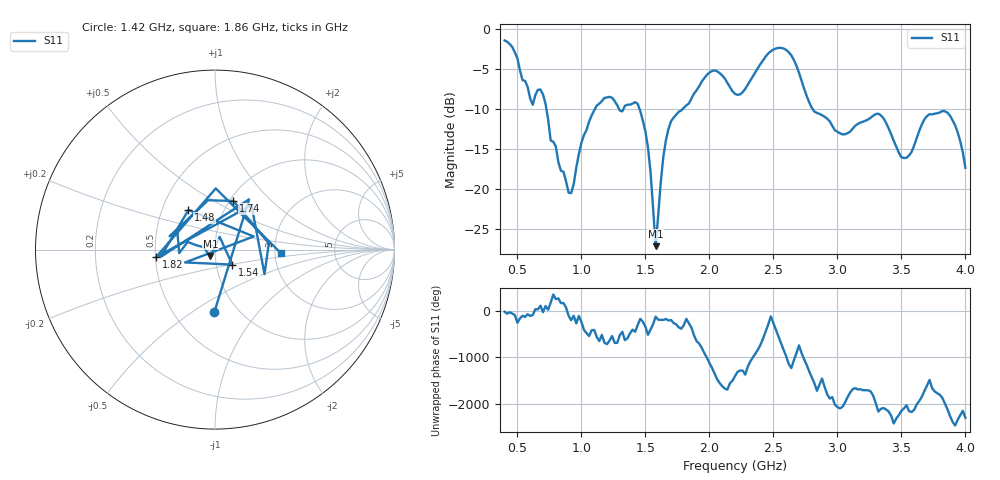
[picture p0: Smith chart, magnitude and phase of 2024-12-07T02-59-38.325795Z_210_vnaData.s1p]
!Created with skrf (http://scikit-rf.org).
# Hz S RI R 50.0
!freq ReS11 ImS11
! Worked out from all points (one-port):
!   181 points, 400 MHz to 4 GHz, reference 50 ohm
!   lowest |S11| = -27.2 dB at 1.58 GHz (marker M1), VSWR 1.09, Z = 47.4 - j3.4 ohm
!   |S11| at or under -10 dB: 726 MHz to 1.107 GHz (381.1 MHz wide, 41.6 % of centre); 1.453 GHz to 1.794 GHz (340.5 MHz wide, 21 % of centre); 2.805 GHz to end of sweep (the widest 3 of 4)
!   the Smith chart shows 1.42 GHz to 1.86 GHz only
!   S11 on the Smith chart (normalised r, x): 1.42 GHz: 0.78, -0.62; 1.48 GHz: 0.68, +0.32; 1.54 GHz: 1.19, -0.20; 1.74 GHz: 1.04, +0.62; 1.82 GHz: 0.50, -0.05; 1.86 GHz: 2.15, -0.09
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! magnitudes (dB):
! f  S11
! 400 MHz  -1.5
! 620 MHz  -9.5
! 700 MHz  -8.2
! 760 MHz  -14.0
! 860 MHz  -17.9
! 920 MHz  -20.5
! 1.12 GHz  -9.6
! 1.3 GHz  -10.2
! 1.42 GHz  -9.2
! 1.48 GHz  -11.5
! 1.54 GHz  -17.9
! 1.58 GHz  -27.2
! 1.66 GHz  -14.0
! 1.74 GHz  -10.8
! 1.76 GHz  -10.4
! 1.82 GHz  -9.6
! 1.86 GHz  -8.7
! 2.04 GHz  -5.2
! 2.2 GHz  -8.2
! 2.5 GHz  -2.6
! 2.66 GHz  -3.9
! 2.82 GHz  -10.4
! 3.1 GHz  -12.9
! 3.32 GHz  -10.6
! 3.56 GHz  -15.8
! 3.7 GHz  -10.9
! 3.84 GHz  -10.3
! 4 GHz  -17.4
